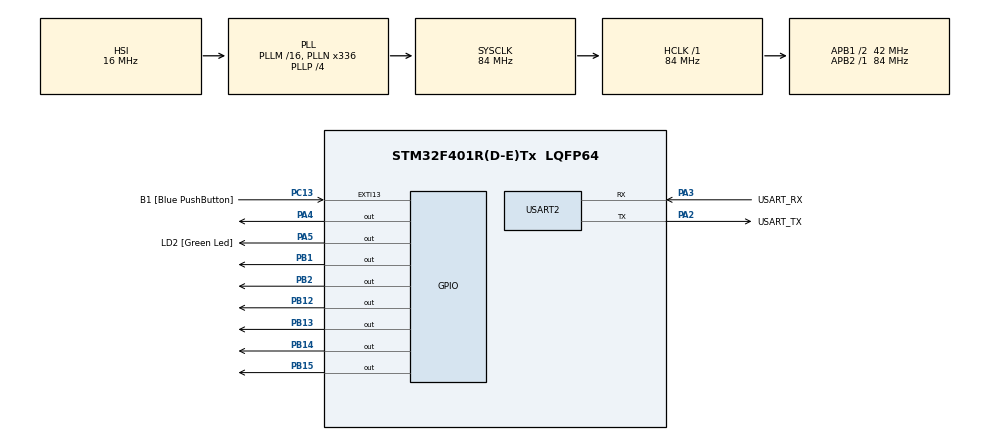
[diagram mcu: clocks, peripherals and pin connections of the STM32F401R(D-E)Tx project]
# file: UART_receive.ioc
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Dma.Request0=USART2_RX
Dma.USART2_RX.0.Direction=DMA_PERIPH_TO_MEMORY
Dma.USART2_RX.0.FIFOMode=DMA_FIFOMODE_DISABLE
Dma.USART2_RX.0.Instance=DMA1_Stream5
Dma.USART2_RX.0.MemDataAlignment=DMA_MDATAALIGN_BYTE
Dma.USART2_RX.0.MemInc=DMA_MINC_ENABLE
Dma.USART2_RX.0.Mode=DMA_NORMAL
Dma.USART2_RX.0.PeriphDataAlignment=DMA_PDATAALIGN_BYTE
Dma.USART2_RX.0.PeriphInc=DMA_PINC_DISABLE
Dma.USART2_RX.0.Priority=DMA_PRIORITY_LOW
Mcu.Family=STM32F4
Mcu.Name=STM32F401R(D-E)Tx
Mcu.Package=LQFP64
NVIC.DMA1_Stream5_IRQn=true\:0\:0\:false\:false\:true\:false\:true\:true
NVIC.PriorityGroup=NVIC_PRIORITYGROUP_0
NVIC.USART2_IRQn=true\:0\:0\:false\:false\:true\:true\:true\:true
PA13.GPIO_Label=TMS
PA13.Mode=Serial_Wire
PA13.Signal=SYS_JTMS-SWDIO
PA14.GPIO_Label=TCK
PA14.Mode=Serial_Wire
PA14.Signal=SYS_JTCK-SWCLK
PA2.GPIO_Label=USART_TX
PA2.GPIO_Mode=GPIO_MODE_AF_PP
PA2.GPIO_PuPd=GPIO_NOPULL
PA2.GPIO_Speed=GPIO_SPEED_FREQ_LOW
PA2.Mode=Asynchronous
PA2.Signal=USART2_TX
PA3.GPIO_Label=USART_RX
PA3.GPIO_Mode=GPIO_MODE_AF_PP
PA3.GPIO_PuPd=GPIO_NOPULL
PA3.GPIO_Speed=GPIO_SPEED_FREQ_LOW
PA3.Mode=Asynchronous
PA3.Signal=USART2_RX
PA4.Signal=GPIO_Output
PA5.GPIO_Label=LD2 [Green Led]
PA5.GPIO_Mode=GPIO_MODE_OUTPUT_PP
PA5.GPIO_PuPd=GPIO_NOPULL
PA5.GPIO_Speed=GPIO_SPEED_FREQ_LOW
PA5.Signal=GPIO_Output
PB1.Signal=GPIO_Output
PB12.Signal=GPIO_Output
PB13.Signal=GPIO_Output
PB14.Signal=GPIO_Output
PB15.Signal=GPIO_Output
PB2.Signal=GPIO_Output
PB3.GPIO_Label=SWO
PB3.Signal=SYS_JTDO-SWO
PC13-ANTI_TAMP.GPIO_Label=B1 [Blue PushButton]
PC13-ANTI_TAMP.GPIO_ModeDefaultEXTI=GPIO_MODE_IT_FALLING
PC13-ANTI_TAMP.GPIO_PuPd=GPIO_NOPULL
PC13-ANTI_TAMP.Signal=GPXTI13
PC14-OSC32_IN.Mode=LSE-External-Oscillator
PC14-OSC32_IN.Signal=RCC_OSC32_IN
PC15-OSC32_OUT.Mode=LSE-External-Oscillator
PC15-OSC32_OUT.Signal=RCC_OSC32_OUT
PH0\ -\ OSC_IN.Mode=HSE-External-Clock-Source
PH0\ -\ OSC_IN.Signal=RCC_OSC_IN
PH1\ -\ OSC_OUT.Mode=HSE-External-Clock-Source
PH1\ -\ OSC_OUT.Signal=RCC_OSC_OUT
ProjectManager.HeapSize=0x200
ProjectManager.StackSize=0x400
ProjectManager.TargetToolchain=STM32CubeIDE
RCC.48MHZClocksFreq_Value=48000000
RCC.AHBFreq_Value=84000000
RCC.APB1CLKDivider=RCC_HCLK_DIV2
RCC.APB1Freq_Value=42000000
RCC.APB1TimFreq_Value=84000000
RCC.APB2Freq_Value=84000000
RCC.APB2TimFreq_Value=84000000
RCC.CortexFreq_Value=84000000
RCC.HCLKFreq_Value=84000000
RCC.HSE_VALUE=8000000
RCC.HSI_VALUE=16000000
RCC.PLLN=336
RCC.PLLP=RCC_PLLP_DIV4
RCC.PLLQ=7
RCC.SYSCLKFreq_VALUE=84000000
RCC.SYSCLKSource=RCC_SYSCLKSOURCE_PLLCLK
RCC.VCOOutputFreq_Value=336000000
USART2.VirtualMode=VM_ASYNC
board=NUCLEO-F401RE

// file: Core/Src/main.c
/* USER CODE BEGIN Header */
/**
  ******************************************************************************
  * @file           : main.c
  * @brief          : Main program body
  ******************************************************************************
  * @attention
  *
  * Copyright (c) 2024 STMicroelectronics.
  * All rights reserved.
  *
  * This software is licensed under terms that can be found in the LICENSE file
  * in the root directory of this software component.
  * If no LICENSE file comes with this software, it is provided AS-IS.
  *
  ******************************************************************************
  */
/* USER CODE END Header */
#include "main.h"

/* USER CODE BEGIN Includes */
#include "PMDB16_LCD.h"
/* USER CODE END Includes */

/* USER CODE BEGIN PD */
#define BUFFER_SIZE 16
/* USER CODE END PD */

UART_HandleTypeDef huart2;
DMA_HandleTypeDef hdma_usart2_rx;

/* USER CODE BEGIN PV */
uint8_t buffer[BUFFER_SIZE + 1];
uint8_t lcd_buffer[BUFFER_SIZE + 1];

char character;
char RxData;

char string[17];

int i = 0;

/* USER CODE END PV */

void SystemClock_Config(void);
static void MX_GPIO_Init(void);
static void MX_DMA_Init(void);
static void MX_USART2_UART_Init(void);

/* USER CODE BEGIN 0 */

void HAL_UARTEx_RxEventCallback(UART_HandleTypeDef *huart, uint16_t size)
{
	if(huart == &huart2)
	{
		//lcd_clear();

		memset(&lcd_buffer, 0, sizeof(lcd_buffer));
		memcpy(&lcd_buffer, &buffer, size);

		lcd_println((char*) lcd_buffer, 0);
		HAL_UARTEx_ReceiveToIdle_DMA(&huart2, buffer, BUFFER_SIZE);

	}

}

//void HAL_UART_RxCpltCallback(UART_HandleTypeDef *huart)
//{
//	if(huart == &huart2)
//	{
//
//		string[i] = RxData;
//
//		if(character == '\0')
//		{
//			lcd_println(string, 0);
//			i = 0;
//			memset(&string, 0, sizeof(string));	// Delete the string, ready to store the new data burst
//		}
//		else
//		{
//			i++;
//		}
//
//		HAL_UART_Receive_DMA(&huart2, &RxData, 1);
//	}
//}
/* USER CODE END 0 */

int main(void)
{

  /* MCU Configuration--------------------------------------------------------*/

  /* Reset of all peripherals, Initializes the Flash interface and the Systick. */
  HAL_Init();

  /* Configure the system clock */
  SystemClock_Config();

  /* Initialize all configured peripherals */
  MX_GPIO_Init();
  MX_DMA_Init();
  MX_USART2_UART_Init();
  /* USER CODE BEGIN 2 */

  lcd_initialize();
  lcd_backlight_ON();

  //HAL_UART_Receive_DMA(&huart2, &RxData, 1);
  HAL_UARTEx_ReceiveToIdle_DMA(&huart2, buffer, BUFFER_SIZE);

  /* USER CODE END 2 */

  /* Infinite loop */
  while (1)
  {

  }
}

void SystemClock_Config(void)
{
  RCC_OscInitTypeDef RCC_OscInitStruct = {0};
  RCC_ClkInitTypeDef RCC_ClkInitStruct = {0};

  /** Configure the main internal regulator output voltage
  */
  __HAL_RCC_PWR_CLK_ENABLE();
  __HAL_PWR_VOLTAGESCALING_CONFIG(PWR_REGULATOR_VOLTAGE_SCALE2);

  /** Initializes the RCC Oscillators according to the specified parameters
  * in the RCC_OscInitTypeDef structure.
  */
  RCC_OscInitStruct.OscillatorType = RCC_OSCILLATORTYPE_HSI;
  RCC_OscInitStruct.HSIState = RCC_HSI_ON;
  RCC_OscInitStruct.HSICalibrationValue = RCC_HSICALIBRATION_DEFAULT;
  RCC_OscInitStruct.PLL.PLLState = RCC_PLL_ON;
  RCC_OscInitStruct.PLL.PLLSource = RCC_PLLSOURCE_HSI;
  RCC_OscInitStruct.PLL.PLLM = 16;
  RCC_OscInitStruct.PLL.PLLN = 336;
  RCC_OscInitStruct.PLL.PLLP = RCC_PLLP_DIV4;
  RCC_OscInitStruct.PLL.PLLQ = 7;
  if (HAL_RCC_OscConfig(&RCC_OscInitStruct) != HAL_OK)
  {
    Error_Handler();
  }

  /** Initializes the CPU, AHB and APB buses clocks
  */
  RCC_ClkInitStruct.ClockType = RCC_CLOCKTYPE_HCLK|RCC_CLOCKTYPE_SYSCLK
                              |RCC_CLOCKTYPE_PCLK1|RCC_CLOCKTYPE_PCLK2;
  RCC_ClkInitStruct.SYSCLKSource = RCC_SYSCLKSOURCE_PLLCLK;
  RCC_ClkInitStruct.AHBCLKDivider = RCC_SYSCLK_DIV1;
  RCC_ClkInitStruct.APB1CLKDivider = RCC_HCLK_DIV2;
  RCC_ClkInitStruct.APB2CLKDivider = RCC_HCLK_DIV1;

  if (HAL_RCC_ClockConfig(&RCC_ClkInitStruct, FLASH_LATENCY_2) != HAL_OK)
  {
    Error_Handler();
  }
}

static void MX_USART2_UART_Init(void)
{

  huart2.Instance = USART2;
  huart2.Init.BaudRate = 115200;
  huart2.Init.WordLength = UART_WORDLENGTH_8B;
  huart2.Init.StopBits = UART_STOPBITS_1;
  huart2.Init.Parity = UART_PARITY_NONE;
  huart2.Init.Mode = UART_MODE_TX_RX;
  huart2.Init.HwFlowCtl = UART_HWCONTROL_NONE;
  huart2.Init.OverSampling = UART_OVERSAMPLING_16;
  if (HAL_UART_Init(&huart2) != HAL_OK)
  {
    Error_Handler();
  }

}

static void MX_DMA_Init(void)
{

  /* DMA controller clock enable */
  __HAL_RCC_DMA1_CLK_ENABLE();

  /* DMA interrupt init */
  /* DMA1_Stream5_IRQn interrupt configuration */
  HAL_NVIC_SetPriority(DMA1_Stream5_IRQn, 0, 0);
  HAL_NVIC_EnableIRQ(DMA1_Stream5_IRQn);

}

static void MX_GPIO_Init(void)
{
  GPIO_InitTypeDef GPIO_InitStruct = {0};

  /* GPIO Ports Clock Enable */
  __HAL_RCC_GPIOC_CLK_ENABLE();
  __HAL_RCC_GPIOH_CLK_ENABLE();
  __HAL_RCC_GPIOA_CLK_ENABLE();
  __HAL_RCC_GPIOB_CLK_ENABLE();

  /*Configure GPIO pin Output Level */
  HAL_GPIO_WritePin(GPIOA, GPIO_PIN_4|LD2_Pin, GPIO_PIN_RESET);

  /*Configure GPIO pin Output Level */
  HAL_GPIO_WritePin(GPIOB, GPIO_PIN_1|GPIO_PIN_2|GPIO_PIN_12|GPIO_PIN_13
                          |GPIO_PIN_14|GPIO_PIN_15, GPIO_PIN_RESET);

  /*Configure GPIO pin : B1_Pin */
  GPIO_InitStruct.Pin = B1_Pin;
  GPIO_InitStruct.Mode = GPIO_MODE_IT_FALLING;
  GPIO_InitStruct.Pull = GPIO_NOPULL;
  HAL_GPIO_Init(B1_GPIO_Port, &GPIO_InitStruct);

  /*Configure GPIO pins : PA4 LD2_Pin */
  GPIO_InitStruct.Pin = GPIO_PIN_4|LD2_Pin;
  GPIO_InitStruct.Mode = GPIO_MODE_OUTPUT_PP;
  GPIO_InitStruct.Pull = GPIO_NOPULL;
  GPIO_InitStruct.Speed = GPIO_SPEED_FREQ_LOW;
  HAL_GPIO_Init(GPIOA, &GPIO_InitStruct);

  /*Configure GPIO pins : PB1 PB2 PB12 PB13
                           PB14 PB15 */
  GPIO_InitStruct.Pin = GPIO_PIN_1|GPIO_PIN_2|GPIO_PIN_12|GPIO_PIN_13
                          |GPIO_PIN_14|GPIO_PIN_15;
  GPIO_InitStruct.Mode = GPIO_MODE_OUTPUT_PP;
  GPIO_InitStruct.Pull = GPIO_NOPULL;
  GPIO_InitStruct.Speed = GPIO_SPEED_FREQ_LOW;
  HAL_GPIO_Init(GPIOB, &GPIO_InitStruct);

}

void Error_Handler(void)
{
  __disable_irq();
  while (1)
  {
  }
}
